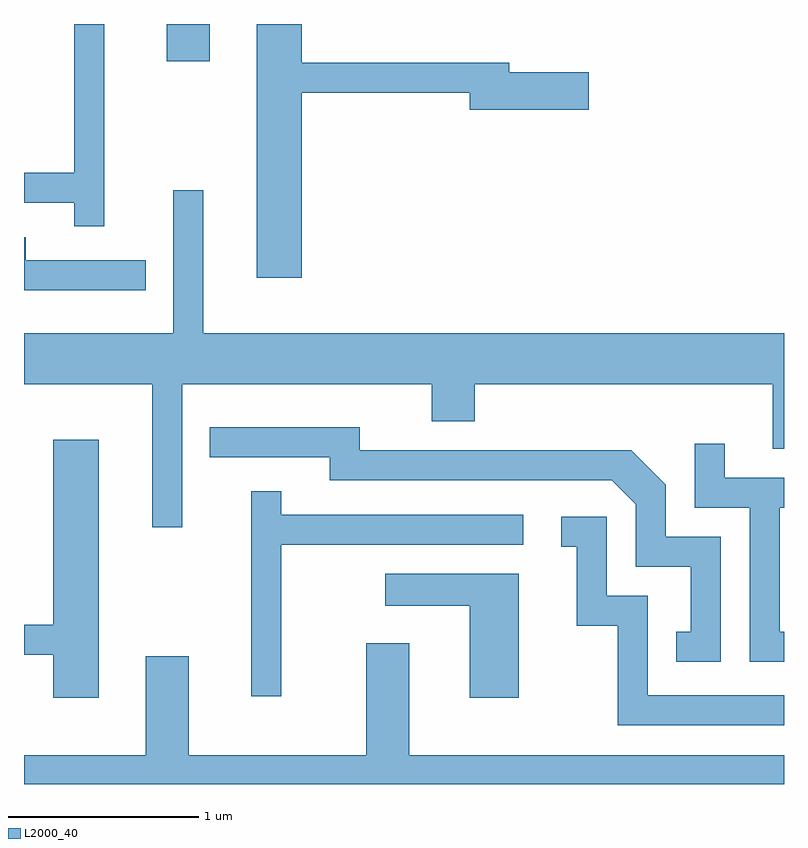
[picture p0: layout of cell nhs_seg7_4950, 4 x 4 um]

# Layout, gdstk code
import gdstk
lib = gdstk.Library(unit=1e-6, precision=1e-09)
def R(c, l, rs):  # rectangles x0, y0, x1, y1
    for r in rs: c.add(gdstk.rectangle(r[:2], r[2:], *l))
def P(c, l, *ps):  # polygons
    for p in ps: c.add(gdstk.Polygon(p, *l))
L2000_40 = (2000, 40)

nhs_seg7_4950 = lib.new_cell('nhs_seg7_4950')
R(nhs_seg7_4950, L2000_40, [(338.361,1676.056,338.589,1676.252)])
P(nhs_seg7_4950, L2000_40, [(339.074,1675.891),(339.956,1675.891),(339.956,1675.801),(340.584,1675.801),(340.584,1675.999),(340.164,1675.999),(340.164,1676.049),(339.074,1676.049),(339.074,1676.252),(338.836,1676.252),(338.836,1674.916),(339.074,1674.916)],
  [(338.034,1676.252),(337.876,1676.252),(337.876,1675.469),(337.611,1675.469),(337.611,1675.311),(337.876,1675.311),(337.876,1675.188),(338.034,1675.188)],
  [(338.444,1674.356),(339.756,1674.356),(339.756,1674.161),(339.984,1674.161),(339.984,1674.356),(341.551,1674.356),(341.551,1674.016),(341.611,1674.016),(341.611,1674.624),(338.554,1674.624),(338.554,1675.378),(338.396,1675.378),(338.396,1674.624),(337.611,1674.624),(337.611,1674.356),(338.286,1674.356),(338.286,1673.603),(338.444,1673.603)],
  [(338.253,1675.009),(337.619,1675.009),(337.619,1675.129),(337.611,1675.129),(337.611,1674.851),(338.253,1674.851)],
  [(341.279,1673.554),(340.989,1673.554),(340.989,1673.827),(340.807,1674.009),(339.379,1674.009),(339.379,1674.129),(338.588,1674.129),(338.588,1673.971),(339.221,1673.971),(339.221,1673.851),(340.704,1673.851),(340.831,1673.724),(340.831,1673.396),(341.121,1673.396),(341.121,1673.054),(341.043,1673.054),(341.043,1672.896),(341.279,1672.896)],
  [(338.004,1674.064),(337.766,1674.064),(337.766,1673.089),(337.611,1673.089),(337.611,1672.931),(337.766,1672.931),(337.766,1672.706),(338.004,1672.706)],
  [(341.611,1673.054),(341.589,1673.054),(341.589,1673.706),(341.611,1673.706),(341.611,1673.864),(341.299,1673.864),(341.299,1674.043),(341.141,1674.043),(341.141,1673.706),(341.431,1673.706),(341.431,1672.896),(341.611,1672.896)],
  [(338.964,1673.511),(340.238,1673.511),(340.238,1673.669),(338.964,1673.669),(338.964,1673.793),(338.806,1673.793),(338.806,1672.713),(338.964,1672.713)],
  [(341.611,1672.719),(340.894,1672.719),(340.894,1673.244),(340.679,1673.244),(340.679,1673.659),(340.438,1673.659),(340.438,1673.501),(340.521,1673.501),(340.521,1673.086),(340.736,1673.086),(340.736,1672.561),(341.611,1672.561)],
  [(340.214,1673.359),(339.513,1673.359),(339.513,1673.191),(339.956,1673.191),(339.956,1672.706),(340.214,1672.706)],
  [(341.611,1672.404),(339.639,1672.404),(339.639,1672.994),(339.411,1672.994),(339.411,1672.404),(338.479,1672.404),(338.479,1672.924),(338.251,1672.924),(338.251,1672.404),(337.611,1672.404),(337.611,1672.252),(341.611,1672.252)])

lib.write_gds('nhs_seg7_4950.gds')
